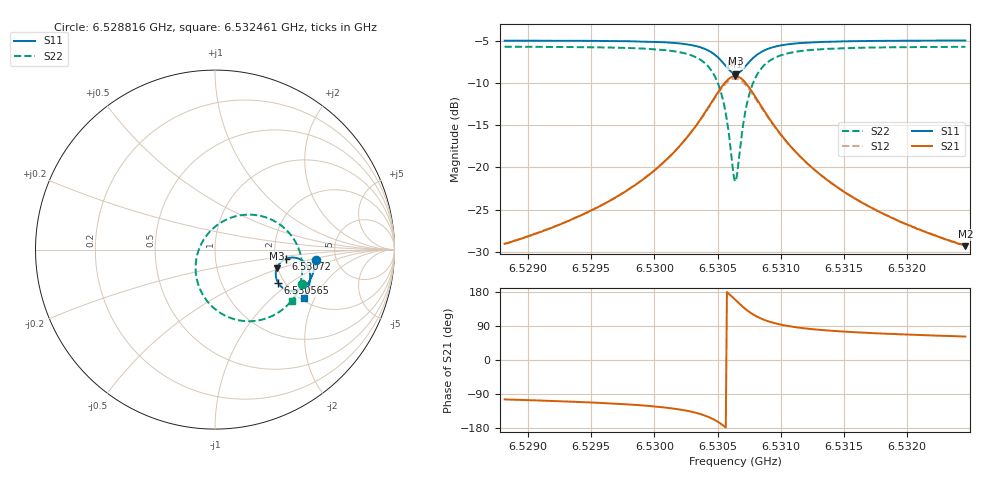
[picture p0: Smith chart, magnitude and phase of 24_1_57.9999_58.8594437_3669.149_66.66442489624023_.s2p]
#  HZ  S  RI  R  50.00
! Rohde & Schwarz Vector Network Analyzer
! Rohde-Schwarz,ZNB20-2Port,1311601062101988,3.16
! Created: UTC 3/21/2024, 12:51:18 AM
! freq[Hz]  re:S11  im:S11  re:S21  im:S21  re:S12  im:S12  re:S22  im:S22
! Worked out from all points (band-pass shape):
!   401 points, 6.528816 GHz to 6.532461 GHz, reference 50 ohm
!   highest |S21| = -9.17 dB at 6.530638 GHz (marker M1); lowest = -29.3 dB at 6.532461 GHz (marker M2)
!   |S21| within 3 dB of the highest: 6.530457 GHz to 6.530822 GHz (364.7 kHz wide, 0.00558 % of centre)
!   lowest |S11| = -8.9 dB at 6.530647 GHz (marker M3), VSWR 2.12, Z = 98.7 - j23.8 ohm
!   |S11| at or under -10 dB: nowhere
!   |S22| runs from -21.7 to -5.7 dB; largest |S21 - S12| = 0.015
!   S11 on the Smith chart (normalised r, x): 6.528816 GHz: 3.48, -0.60; 6.530565 GHz: 1.85, -0.82; 6.53072 GHz: 2.28, -0.28; 6.532461 GHz: 2.09, -1.66
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6.5288155e9  0.561 -0.0587  -0.00847 -0.0342  -0.00932 -0.0341  0.4822 -0.1921
6.5294262e9  0.5515 -0.1121  -0.0189 -0.0487  -0.02 -0.0483  0.4494 -0.2538
6.5297634e9  0.5406 -0.1458  -0.032 -0.0639  -0.0338 -0.0631  0.4149 -0.2982
6.5300368e9  0.5238 -0.1787  -0.0562 -0.0842  -0.0587 -0.0826  0.3608 -0.3457
6.5302555e9  0.4934 -0.2106  -0.1035 -0.108  -0.1069 -0.1042  0.2653 -0.3895
6.5304105e9  0.4436 -0.2304  -0.1837 -0.1152  -0.1864 -0.1067  0.1182 -0.3906
6.5305016e9  0.3918 -0.2217  -0.265 -0.0816  -0.2634 -0.0697  -0.0162 -0.317
6.5305381e9  0.3682 -0.2055  -0.3 -0.0468  -0.295 -0.0345  -0.0681 -0.2512
6.5305654e9  0.3527 -0.1868  -0.3217 -0.00987  -0.3135 0.00179  -0.0963 -0.1847
6.5306201e9  0.3386 -0.1336  -0.3346 0.0871  -0.3214 0.0939  -0.0973 -0.0223
6.5306383e9  0.3414 -0.1144  -0.3259 0.1214  -0.3121 0.1255  -0.0763 0.0318
6.5306474e9  0.3442 -0.1048  -0.3189 0.1377  -0.3053 0.1406  -0.062 0.0573
6.5306657e9  0.353 -0.0873  -0.3009 0.1677  -0.2875 0.1681  -0.0265 0.1027
6.5307203e9  0.3939 -0.052  -0.224 0.2261  -0.2149 0.2221  0.1105 0.1846
6.5307477e9  0.417 -0.0453  -0.1835 0.2368  -0.1764 0.2323  0.1798 0.1949
6.5307841e9  0.4446 -0.045  -0.1354 0.237  -0.1308 0.2325  0.2604 0.1862
6.5308753e9  0.4914 -0.0652  -0.0558 0.2056  -0.0539 0.2031  0.3905 0.116
6.531012e9  0.5203 -0.103  -0.00676 0.1528  -0.00558 0.1519  0.4647 0.00912
6.5312489e9  0.5304 -0.1503  0.0149 0.0983  0.016 0.098  0.4865 -0.1037
6.5315041e9  0.5273 -0.1843  0.0187 0.0689  0.0197 0.0688  0.4796 -0.1703
6.5318596e9  0.5177 -0.2204  0.0184 0.0478  0.0192 0.0474  0.462 -0.2273
6.5324611e9  0.4972 -0.2693  0.0161 0.0301  0.0167 0.0301  0.431 -0.2882
